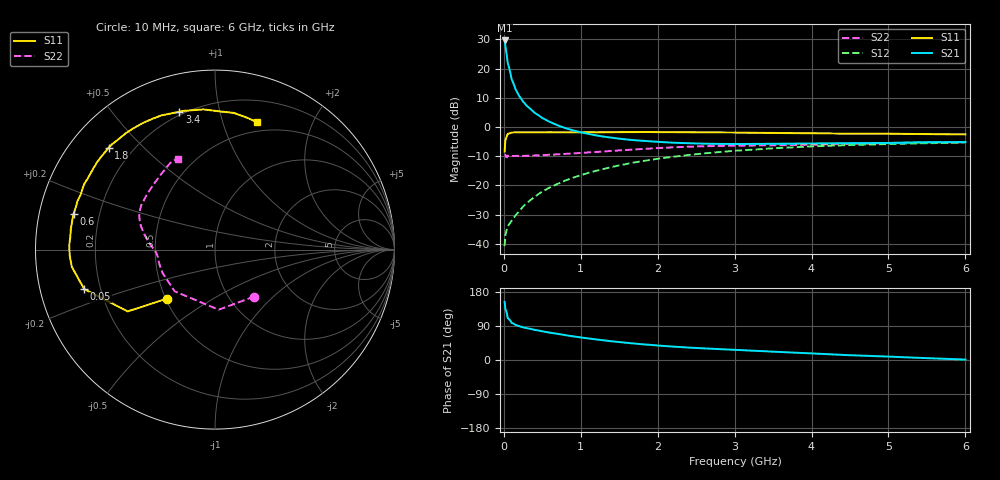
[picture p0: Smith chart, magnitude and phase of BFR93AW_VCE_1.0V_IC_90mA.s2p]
! Infineon Technologies  Discrete & RF Semiconductors
! BFR93AW
! VCE =  1.0 V,  IC =  90 mA
! Common Emitter S-Parameters:  Jan 2017
# GHz  S  MA  R  50
!  f  S11  S21  S12  S22
! GHz  MAG  ANG  MAG  ANG  MAG  ANG  MAG  ANG
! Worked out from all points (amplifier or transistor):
!   77 points, 10 MHz to 6 GHz, reference 50 ohm
!   highest |S21| = 29.7 dB at 10 MHz (marker M1)
!   |S21| within 3 dB of that: start of sweep to 26.45 MHz
!   unconditionally stable (mu >= 1): start of sweep to 17.39 MHz; 76.31 MHz to end of sweep
!   at 130 MHz: K = 1.26, MAG = 19.8 dB, |S12| = -31.1 dB
!   at 2.2 GHz: K = 1.22, MAG = -0.4 dB, |S12| = -10.2 dB
!   at 6 GHz: K = 1.07, MAG = -1.6 dB, |S12| = -5.3 dB
!   S11 on the Smith chart (normalised r, x): 10 MHz: 0.51, -0.32; 50 MHz: 0.14, -0.14; 600 MHz: 0.10, +0.12; 1.8 GHz: 0.11, +0.40; 3.4 GHz: 0.18, +0.76; 6 GHz: 0.40, +1.30
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0.01  0.3821 -134.4  30.4 153.5  0.0091 47.2  0.3411 -50.1
0.02  0.5958 -144.7  24.33 135.0  0.0139 44.3  0.3355 -86.5
0.04  0.6986 -158.0  16.13 122.5  0.0178 39.7  0.3026 -118.3
0.05  0.7611 -163.2  12.6 110.5  0.0198 38.1  0.3235 -134.1
0.1  0.8038 -173.2  6.679 98.3  0.0246 46.5  0.3199 -156.3
0.15  0.8102 -177.6  4.504 92.9  0.0304 52.6  0.3202 -164.3
0.2  0.8119 179.5  3.397 89.2  0.0362 58.4  0.3202 -168.5
0.25  0.8114 177.2  2.735 86.2  0.0433 60.8  0.3202 -171.2
0.3  0.8094 175.3  2.295 83.9  0.0499 64.0  0.3217 -173.0
0.4  0.8114 171.8  1.753 79.5  0.0635 67.1  0.3252 -175.5
0.5  0.8114 168.7  1.43 75.7  0.0784 67.8  0.3293 -177.4
0.6  0.8131 165.8  1.219 72.1  0.0927 68.3  0.3355 -178.9
0.8  0.8124 160.6  0.959 65.5  0.1214 68.7  0.3466 178.4
1.1  0.8152 153.0  0.762 56.9  0.1642 65.6  0.3671 174.5
1.4  0.8155 145.6  0.657 49.4  0.2062 62.3  0.39 170.1
1.8  0.8205 136.2  0.582 41.4  0.2601 56.6  0.4204 164.5
2.1  0.8165 129.6  0.548 36.8  0.2973 52.1  0.4419 160.5
3.1  0.801 110.0  0.512 25.9  0.3991 37.6  0.4805 147.4
3.4  0.7933 104.5  0.515 23.0  0.4233 33.6  0.4849 143.1
4.1  0.7801 93.3  0.524 16.4  0.4707 24.5  0.5005 132.4
5.1  0.7657 81.0  0.537 8.2  0.5144 13.1  0.5355 119.4
6  0.7477 71.9  0.554 1.1  0.5405 4.3  0.5462 112.2
